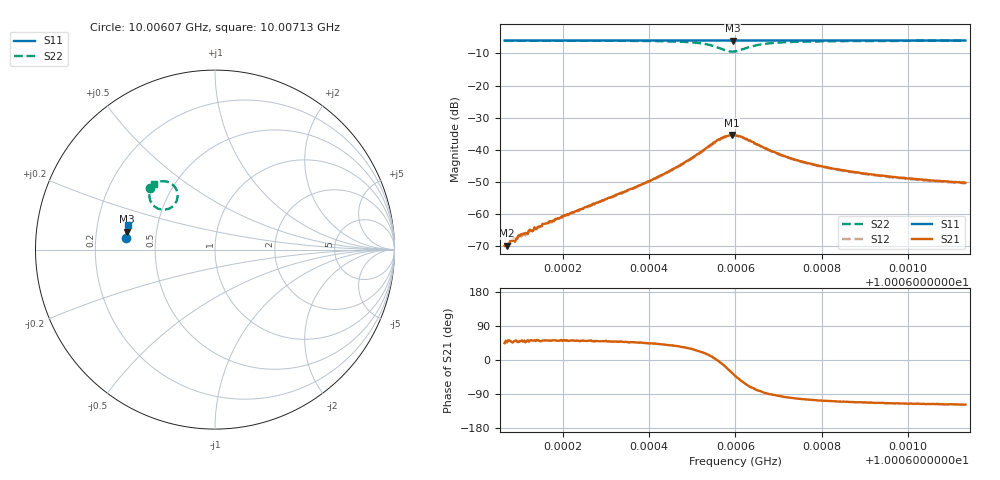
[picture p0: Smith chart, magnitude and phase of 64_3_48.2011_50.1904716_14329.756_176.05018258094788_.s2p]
#  HZ  S  RI  R  50.00
! Rohde & Schwarz Vector Network Analyzer
! Rohde-Schwarz,ZNB20-2Port,1311601062101988,3.16
! Created: UTC 3/20/2024, 11:38:54 AM
! freq[Hz]  re:S11  im:S11  re:S21  im:S21  re:S12  im:S12  re:S22  im:S22
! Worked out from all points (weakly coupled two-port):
!   401 points, 10.00607 GHz to 10.00713 GHz, reference 50 ohm
!   highest |S21| = -35.39 dB at 10.00659 GHz (marker M1); lowest = -70.0 dB at 10.00607 GHz (marker M2)
!   lowest |S11| = -6.0 dB at 10.00659 GHz (marker M3), VSWR 3.01, Z = 16.8 + j4.47 ohm
!   |S11| at or under -10 dB: nowhere
!   |S22| runs from -9.4 to -6.0 dB; largest |S21 - S12| = 0.0012
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1.0006066e10  -0.4973 0.0666  0.000227 0.000222  0.000216 0.000245  -0.3628 0.3421
1.0006071e10  -0.4972 0.0669  0.000218 0.000231  0.000199 0.000243  -0.3626 0.3426
1.0006087e10  -0.4971 0.068  0.000275 0.000318  0.000217 0.000327  -0.3615 0.3437
1.0006103e10  -0.4969 0.069  0.000308 0.000361  0.000265 0.000358  -0.3604 0.3448
1.0006122e10  -0.4968 0.0704  0.000362 0.000401  0.00032 0.000445  -0.3592 0.3463
1.0006167e10  -0.4964 0.0734  0.000456 0.000559  0.000421 0.000603  -0.3556 0.3499
1.0006244e10  -0.4958 0.0784  0.000765 0.00092  0.000728 0.000943  -0.3487 0.3562
1.0006332e10  -0.4951 0.084  0.00137 0.00153  0.00128 0.00156  -0.3376 0.3648
1.0006423e10  -0.494 0.09  0.00286 0.00261  0.00268 0.00264  -0.3173 0.3754
1.0006474e10  -0.4933 0.0934  0.0048 0.00335  0.00449 0.00347  -0.2952 0.3806
1.000653e10  -0.4923 0.097  0.00978 0.0031  0.00937 0.00342  -0.2461 0.3692
1.0006564e10  -0.4913 0.099  0.0145 -0.00156  0.0143 -0.000686  -0.2095 0.3169
1.0006591e10  -0.4909 0.0997  0.0143 -0.00925  0.0143 -0.0081  -0.2292 0.2474
1.0006594e10  -0.4908 0.0999  0.0137 -0.00981  0.0138 -0.00883  -0.235 0.242
1.0006599e10  -0.4909 0.1  0.0126 -0.0112  0.0129 -0.0101  -0.2478 0.2327
1.000662e10  -0.4911 0.1011  0.0074 -0.0133  0.0081 -0.0126  -0.3012 0.2237
1.0006658e10  -0.4913 0.1035  0.00156 -0.0113  0.00206 -0.0111  -0.3522 0.2571
1.0006714e10  -0.4911 0.1074  -0.00106 -0.00788  -0.000653 -0.00774  -0.3659 0.2986
1.0006778e10  -0.4904 0.1117  -0.00157 -0.00576  -0.00128 -0.00571  -0.363 0.3231
1.000686e10  -0.4894 0.1171  -0.00162 -0.00435  -0.00141 -0.00434  -0.3566 0.3402
1.0006956e10  -0.4881 0.1232  -0.00156 -0.0035  -0.00135 -0.00345  -0.3494 0.3525
1.0007132e10  -0.4855 0.1343  -0.00141 -0.00269  -0.00127 -0.00274  -0.3381 0.3674
